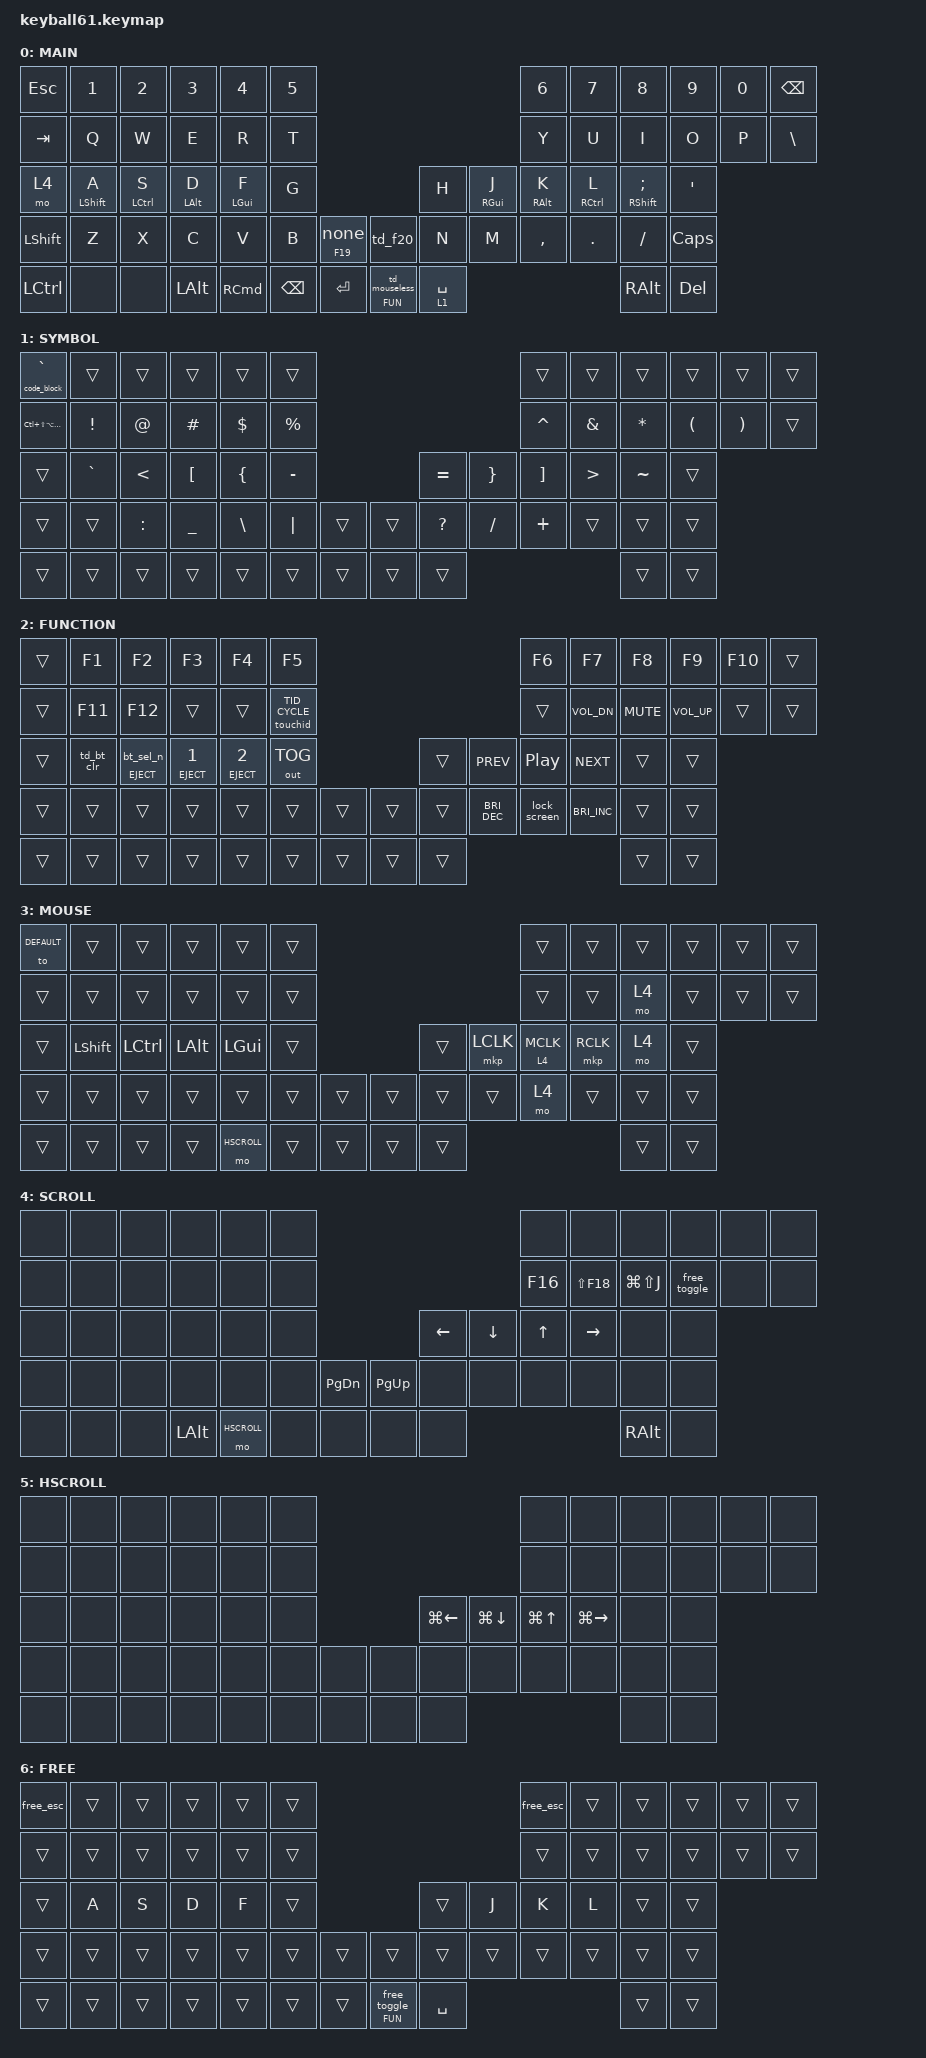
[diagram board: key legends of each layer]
#define DEFAULT 0
#define SYM     1
#define FUN     2
#define MOUSE   3 // Auto-Mouse Layer
#define SCROLL  4 // Motion Scroll Layer
#define HSCROLL 5 // Horizontal Scroll Layer
#define FREE    6 // Mouseless free mode: plain keys so holds reach Mouseless

#include <behaviors/mouse_keys.dtsi>
#include <dt-bindings/zmk/mouse.h>
#include <behaviors.dtsi>
#include <dt-bindings/zmk/bt.h>
#include <dt-bindings/zmk/keys.h>
#include <dt-bindings/zmk/outputs.h>
#include <dt-bindings/zmk/pointing.h>
#include <dt-bindings/keyball61/touchid.h>

// ─── Key position index map ───────────────────────────────────────────────
//
//  Row 0:  0  1  2  3  4  5          6  7  8  9 10 11
//  Row 1: 12 13 14 15 16 17         18 19 20 21 22 23
//  Row 2: 24 25 26 27 28 29         30 31 32 33 34 35
//  Row 3: 36 37 38 39 40 41 42   43 44 45 46 47 48 49
//  Row 4: 50 51 52 53 54 55 56   57 58                59 60
//
// ─── Positional hold-tap groups (cross-hand only) ─────────────────────────

#define KEYS_L 0  1  2  3  4  5  12 13 14 15 16 17 24 25 26 27 28 29 36 37 38 39 40 41 42 50 51 52 53
#define KEYS_R 6  7  8  9  10 11 18 19 20 21 22 23 30 31 32 33 34 35 43 44 45 46 47 48 49 59 60
#define THUMBS 54 55 56 57 58

// Tap-preferred: a Space released before 160 ms is always Space (rolls into the next word typed @ < &).
// retro-tap keeps a long Space with nothing pressed during it as Space.
&lt {
    tapping-term-ms = <160>;
    flavor = "tap-preferred";
    quick-tap-ms = <150>;
    retro-tap;
};

&mt {
    tapping-term-ms = <200>;
    flavor = "tap-preferred";
    quick-tap-ms = <150>;
};

/ {
    macros {
        lock_screen: lock_screen {
            compatible = "zmk,behavior-macro";
            #binding-cells = <0>;
            bindings =
                <&macro_press>,
                <&kp LCTRL &kp LCMD>,
                <&macro_tap>,
                <&kp Q>,
                <&macro_release>,
                <&kp LCTRL &kp LCMD>;
        };

        code_block: code_block {
            compatible = "zmk,behavior-macro";
            #binding-cells = <0>;
            bindings =
                <&macro_tap>,
                <&kp GRAVE>, <&kp GRAVE>, <&kp GRAVE>,
                <&kp LS(ENTER)>, <&kp LS(ENTER)>,
                <&kp GRAVE>, <&kp GRAVE>, <&kp GRAVE>,
                <&kp UP_ARROW>;
        };

        // Toggle Mouseless free mode (F13) and the FREE layer together.
        free_toggle: free_toggle {
            compatible = "zmk,behavior-macro";
            #binding-cells = <0>;
            bindings = <&macro_tap &kp F13 &tog FREE>;
        };

        // Escape exits Mouseless free mode, so leave the FREE layer with it.
        // Bluetooth slot keys: the slot number comes from the key binding.
        bt_sel_n: bt_sel_n {
            compatible = "zmk,behavior-macro-one-param";
            #binding-cells = <1>;
            bindings = <&macro_param_1to2>, <&bt BT_SEL MACRO_PLACEHOLDER>;
        };

        free_esc: free_esc {
            compatible = "zmk,behavior-macro";
            #binding-cells = <0>;
            bindings = <&macro_tap &kp ESC &tog FREE>;
        };
    };

    behaviors {
        // Touch ID power mode, run on the left half; peripheral behaviors need names of 8 characters or fewer
        touchid: touchid {
            compatible = "zmk,behavior-touchid";
            #binding-cells = <1>;
            display-name = "Touch ID";
        };

        ht_homerow: ht_homerow {
            compatible = "zmk,behavior-hold-tap";
            #binding-cells = <2>;
            tapping-term-ms = <180>;
            quick-tap-ms = <150>;
            flavor = "balanced";
            bindings = <&mo>, <&kp>;
        };

        // Keep the function-layer hold timing; only the tap branch dances.
        ht_mouseless: ht_mouseless {
            compatible = "zmk,behavior-hold-tap";
            #binding-cells = <2>;
            tapping-term-ms = <180>;
            quick-tap-ms = <150>;
            flavor = "balanced";
            bindings = <&mo>, <&td_mouseless>;
        };

        // FREE layer thumb key: one tap leaves free mode (no grid, no double-tap wait).
        ht_free: ht_free {
            compatible = "zmk,behavior-hold-tap";
            #binding-cells = <2>;
            tapping-term-ms = <180>;
            quick-tap-ms = <150>;
            flavor = "balanced";
            bindings = <&mo>, <&free_toggle>;
        };

        // Mouseless: one tap opens the grid (F18), two quick taps toggle free mode (F13 + FREE layer).
        // Tune the double-tap window here: 220 ms missed double taps, 350 ms felt laggy.
        td_mouseless: td_mouseless {
            compatible = "zmk,behavior-tap-dance";
            #binding-cells = <0>;
            tapping-term-ms = <260>;
            bindings = <&kp F18>, <&free_toggle>;
        };

        // Bluetooth slot key: tap selects the slot, hold sends Eject, which shows or hides
        // the iPhone's on-screen keyboard while this keyboard stays connected.
        // Tried: hold = &bt BT_DISC <slot>; the host reconnects at once, so it did nothing.
        // Use as &ht_bt C_EJECT <slot>.
        ht_bt: ht_bt {
            compatible = "zmk,behavior-hold-tap";
            #binding-cells = <2>;
            tapping-term-ms = <300>;
            flavor = "tap-preferred";
            bindings = <&kp>, <&bt_sel_n>;
        };

        td_bt_clr: td_bt_clr {
            compatible = "zmk,behavior-tap-dance";
            #binding-cells = <0>;
            tapping-term-ms = <300>;
            bindings = <&none>, <&bt BT_CLR>;
        };

        sw_ptt: superwhisper_push_to_talk {
            compatible = "zmk,behavior-hold-tap";
            #binding-cells = <2>;
            tapping-term-ms = <120>;
            quick-tap-ms = <0>;
            flavor = "tap-preferred";
            bindings = <&kp>, <&none>;
        };

        // Hold = SuperWhisper push-to-talk, tap = Neru recursive grid.
        sw_ptt_nested: superwhisper_push_to_talk_nested {
            compatible = "zmk,behavior-hold-tap";
            #binding-cells = <2>;
            tapping-term-ms = <1>;
            quick-tap-ms = <0>;
            flavor = "tap-preferred";
            bindings = <&kp>, <&kp>;
        };

        td_f20: td_f20 {
            compatible = "zmk,behavior-tap-dance";
            #binding-cells = <0>;
            tapping-term-ms = <250>;
            bindings = <&sw_ptt_nested F19 F17>, <&kp F20>;
        };

        mo_mkp: mo_mkp {
            compatible = "zmk,behavior-hold-tap";
            #binding-cells = <2>;
            tapping-term-ms = <120>;
            flavor = "balanced";
            bindings = <&mo>, <&mkp>;
        };

        sym_grave_block: sym_grave_block {
            compatible = "zmk,behavior-hold-tap";
            #binding-cells = <2>;
            tapping-term-ms = <180>;
            flavor = "hold-preferred";
            bindings = <&code_block>, <&kp>;
        };

        // Home Row Mods - Left Hand
        // Hold only triggers when a RIGHT-hand key is the next press.

        hml: homerow_mods_left {
            compatible = "zmk,behavior-hold-tap";
            #binding-cells = <2>;
            bindings = <&kp>, <&kp>;

            flavor = "balanced";
            tapping-term-ms = <260>;
            quick-tap-ms = <175>;
            require-prior-idle-ms = <175>;
            hold-trigger-key-positions = <KEYS_R THUMBS>;
            hold-trigger-on-release;
        };

        // Home Row Mods - Right Hand
        // Hold only triggers when a LEFT-hand key is the next press.

        hmr: homerow_mods_right {
            compatible = "zmk,behavior-hold-tap";
            #binding-cells = <2>;
            bindings = <&kp>, <&kp>;

            flavor = "balanced";
            tapping-term-ms = <260>;
            quick-tap-ms = <175>;
            require-prior-idle-ms = <75>;
            hold-trigger-key-positions = <KEYS_L THUMBS>;
            hold-trigger-on-release;
        };
    };

    keymap {
        compatible = "zmk,keymap";

        default_layer {
            label = "MAIN";
            bindings = <
&kp ESC           &kp N1  &kp N2        &kp N3        &kp N4             &kp N5                                 &kp N6       &kp N7       &kp N8       &kp N9        &kp N0         &kp BSPC
&kp TAB           &kp Q   &kp W         &kp E         &kp R              &kp T                                  &kp Y        &kp U        &kp I        &kp O         &kp P          &kp BACKSLASH
&mo 4             &hml LSHIFT A  &hml LCTRL S  &hml LALT D   &hml LGUI F        &kp G                                  &kp H        &hmr RGUI J  &hmr RALT K  &hmr RCTRL L  &hmr RSHIFT SEMI  &kp SQT
&kp LEFT_SHIFT    &kp Z   &kp X         &kp C         &kp V              &kp B          &sw_ptt F19 0  &td_f20      &kp N        &kp M        &kp COMMA    &kp DOT       &kp FSLH       &kp CAPSLOCK
&kp LEFT_CONTROL  &none   &none         &kp LEFT_ALT  &kp RIGHT_COMMAND  &kp BACKSPACE  &kp ENTER  &ht_mouseless FUN 0  &lt 1 SPACE                                          &kp RIGHT_ALT  &kp DELETE
            >;
        };

        symbol_layer {
            label = "SYMBOL";
            bindings = <
&sym_grave_block 0 GRAVE  &trans     &trans     &trans     &trans    &trans                     &trans     &trans    &trans     &trans    &trans     &trans
&kp LC(LS(LA(LG(TAB))))  &kp EXCL   &kp AT     &kp HASH   &kp DLLR  &kp PRCNT                  &kp CARET  &kp AMPS  &kp ASTRK  &kp LPAR  &kp RPAR   &trans
&trans  &kp GRAVE  &kp LT     &kp LBKT   &kp LBRC  &kp MINUS                  &kp EQUAL  &kp RBRC  &kp RBKT   &kp GT    &kp TILDE  &trans
&trans  &trans     &kp COLON  &kp UNDER  &kp BSLH  &kp PIPE   &trans  &trans  &kp QMARK  &kp FSLH  &kp PLUS   &trans    &trans     &trans
&trans  &trans     &trans     &trans     &trans    &trans     &trans  &trans  &trans                                    &trans     &trans
            >;
        };

        function_layer {
            label = "FUNCTION";
            bindings = <
&trans  &kp F1      &kp F2        &kp F3        &kp F4        &kp F5                        &kp F6  &kp F7         &kp F8            &kp F9         &kp F10  &trans
&trans  &kp F11     &kp F12       &trans        &trans        &touchid TID_CYCLE            &trans  &kp C_VOL_DN   &kp K_MUTE        &kp C_VOL_UP   &trans   &trans
&trans  &td_bt_clr  &ht_bt C_EJECT 0 &ht_bt C_EJECT 1 &ht_bt C_EJECT 2  &out OUT_TOG                  &trans  &kp C_PREV     &kp C_PLAY_PAUSE  &kp C_NEXT     &trans   &trans
&trans  &trans      &trans        &trans        &trans        &trans        &trans  &trans  &trans  &kp C_BRI_DEC  &lock_screen      &kp C_BRI_INC  &trans   &trans
&trans  &trans      &trans        &trans        &trans        &trans        &trans  &trans  &trans                                                  &trans   &trans
            >;
        };

        mouse_layer {
            label = "MOUSE";
            // Escape leaves the auto-mouse layer instead of typing Escape.
            bindings = <
&to DEFAULT  &trans  &trans  &trans  &trans  &trans                  &trans  &trans     &trans          &trans     &trans  &trans
&trans  &trans  &trans  &trans  &trans  &trans                  &trans  &trans     &mo 4           &trans     &trans  &trans
&trans  &kp LSHIFT  &kp LCTRL  &kp LALT  &kp LGUI  &trans       &trans  &mkp LCLK  &mo_mkp 4 MCLK  &mkp RCLK  &mo 4   &trans
&trans  &trans  &trans  &trans  &trans  &trans  &trans  &trans  &trans  &trans     &mo 4           &trans     &trans  &trans
&trans  &trans  &trans  &trans  &mo HSCROLL  &trans  &trans  &trans  &trans                                        &trans  &trans
            >;
        };

        scroll_layer {
            label = "SCROLL";
            // Right-hand Neru keys: Y hint (move only), U right-click hints, I scroll mode, O Mouseless free mode
            bindings = <
&none  &none  &none  &none  &none        &none                            &none  &none  &none  &none  &none  &none
&none  &none  &none  &none  &none        &none                            &kp F16  &kp LS(F18)  &kp LG(LS(J))  &free_toggle  &none  &none
&none  &none  &none  &none  &none        &none                            &kp LEFT  &kp DOWN_ARROW  &kp UP_ARROW  &kp RIGHT_ARROW  &none  &none
&none  &none  &none  &none  &none        &none  &kp PAGE_DOWN  &kp PAGE_UP  &none  &none  &none  &none  &none  &none
&none  &none  &none  &kp LEFT_ALT  &mo HSCROLL  &none  &none  &none      &none                      &kp RIGHT_ALT  &none
            >;
        };

        horizontal_scroll_layer {
            label = "HSCROLL";
            bindings = <
&none  &none  &none  &none  &none  &none                  &none  &none  &none  &none  &none  &none
&none  &none  &none  &none  &none  &none                  &none  &none  &none  &none  &none  &none
&none  &none  &none  &none  &none  &none                  &kp LG(LEFT)  &kp LG(DOWN_ARROW)  &kp LG(UP_ARROW)  &kp LG(RIGHT_ARROW)  &none  &none
&none  &none  &none  &none  &none  &none  &none  &none    &none  &none  &none  &none  &none  &none
&none  &none  &none  &none  &none  &none  &none  &none    &none                &none  &none
            >;
        };

        free_layer {
            label = "FREE";
            // On while Mouseless free mode is on: plain home row and Space, so
            // held H/J/K/L (move), A/S/D/F (speed) and Space (click/drag) reach Mouseless.
            bindings = <
&free_esc  &trans  &trans  &trans  &trans  &trans                  &free_esc  &trans  &trans  &trans  &trans  &trans
&trans     &trans  &trans  &trans  &trans  &trans                  &trans  &trans  &trans  &trans  &trans  &trans
&trans     &kp A   &kp S   &kp D   &kp F   &trans                  &trans  &kp J   &kp K   &kp L   &trans  &trans
&trans     &trans  &trans  &trans  &trans  &trans  &trans  &trans  &trans  &trans  &trans  &trans  &trans  &trans
&trans     &trans  &trans  &trans  &trans  &trans  &trans  &ht_free FUN 0  &kp SPACE                &trans  &trans
            >;
        };
    };
};
